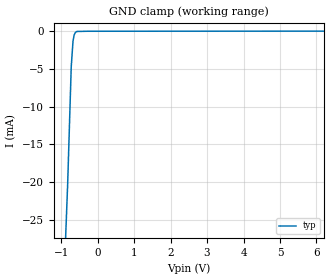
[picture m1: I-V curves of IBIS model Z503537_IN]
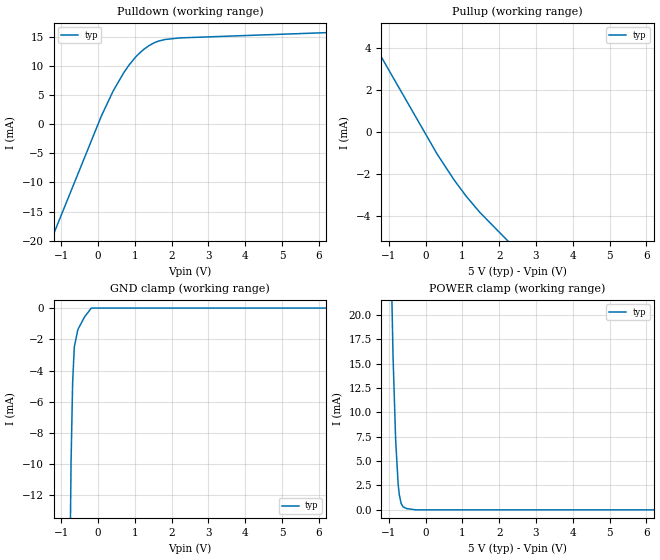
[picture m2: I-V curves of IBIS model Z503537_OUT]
| YOU ARE ONLY AUTHORIZED TO USE THIS SOFTWARE
| ACCORDING TO LICENSOR'S LICENSE RESTRICTIONS.
[IBIS Ver] 3.1
[File Name] mc14049ubcp.ibs
[File Rev] 2.0
[Source] Measured and created by ICX Technology
[Date] Friday 7/14/00 9:07:52 AM
[Copyright]
| (C) COPYRIGHT 1993-2000
| MENTOR GRAPHICS CORPORATION
| ICX STANDARD LIBRARY, ICX PROJECT MODELING,
| ICX CUSTOM MODELING, ICX VENDOR MODEL
| ALL RIGHTS RESERVED.
| THE FOLLOWING ARE TRADEMARKS OR SERVICE MARKS OF
| MENTOR GRAPHICS CORPORATION:ICX (R), ICX STANDARD
| LIBRARY(R), ICX PROJECT MODELING(R), ICX CUSTOM
| MODELING(R), qualityIBIS(TM), MODELVIEWER(TM),
| AND MODELEDITOR(TM)
| ALL COPIES OF SOFTWARE, INCLUDING BUT NOT LIMITED TO
| ANY MODIFICATIONS, ENHANCEMENTS OR DERIVATIVE WORKS,
| MUST CONTAIN ALL MENTOR GRAPHICS CORPORATION'S
| NOTICES AND LEGENDS, INCLUDING THOSE EMBEDDED IN
| SOFTWARE AND THOSE AFFIXED TO SOFTWARE MEDIUM
| AND CONTAINER, AS RECEIVED FROM MENTOR GRAPHICS
| CORPORATION.
|  ZAP Model Builder 2.7
[Component] MC14049UBCP
[Manufacturer] OnSemiconductor
[Package]
| variable   typ   min   max
R_pkg  .212ohms NA NA
L_pkg  4.758nH NA NA
C_pkg  1.143pF NA NA
[Pin] signal_name  model_name  R_pin  L_pin C_pin
1 VDD POWER .224 7.258n 1.578p
2 OUT Z503537_OUT .216 5.258n 1.288p
3 IN Z503537_IN .208 3.758n .998p
4 OUT Z503537_OUT .2 2.758n .708p
5 IN Z503537_IN .2 2.758n .708p
6 OUT Z503537_OUT .208 3.758n .998p
7 IN Z503537_IN .216 5.258n 1.288p
8 VSS GND .224 7.258n 1.578p
9 IN Z503537_IN .224 7.258n 1.578p
10 OUT Z503537_OUT .216 5.258n 1.288p
11 IN Z503537_IN .208 3.758n .998p
12 OUT Z503537_OUT .2 2.758n .708p
13 NC NC .2 2.758n .708p
14 IN Z503537_IN .208 3.758n .998p
15 OUT Z503537_OUT .216 5.258n 1.288p
16 NC NC .224 7.258n 1.578p
| Models and submodels in the file (2): Z503537_IN (Input), Z503537_OUT (Output)
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| (C) COPYRIGHT 1993-2000
| MENTOR GRAPHICS CORPORATION
| ICX STANDARD LIBRARY, ICX PROJECT MODELING,
| ICX CUSTOM MODELING, ICX VENDOR MODEL
| ALL RIGHTS RESERVED.
| THE FOLLOWING ARE TRADEMARKS OR SERVICE MARKS OF
| MENTOR GRAPHICS CORPORATION:ICX (R), ICX STANDARD
| LIBRARY(R), ICX PROJECT MODELING(R), ICX CUSTOM
| MODELING(R), qualityIBIS(TM), MODELVIEWER(TM),
| AND MODELEDITOR(TM)
| ALL COPIES OF SOFTWARE, INCLUDING BUT NOT LIMITED TO
| ANY MODIFICATIONS, ENHANCEMENTS OR DERIVATIVE WORKS,
| MUST CONTAIN ALL MENTOR GRAPHICS CORPORATION'S
| NOTICES AND LEGENDS, INCLUDING THOSE EMBEDDED IN
| SOFTWARE AND THOSE AFFIXED TO SOFTWARE MEDIUM
| AND CONTAINER, AS RECEIVED FROM MENTOR GRAPHICS
| CORPORATION.
| Model Application Version 1.89 2/18/99.
[Model] Z503537_IN
Model_type Input
Vinl = 1.500V
Vinh = 3.500V
C_comp 4.000pF NA NA
| variable typ   min   max
[Voltage Range] 5.000V NA NA
[GND Clamp Reference] 0.000V NA NA
[POWER Clamp Reference] 5.000V NA NA
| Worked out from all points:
|   GND clamp passes 1 mA (typ) near -0.66 V on its own axis
[GND Clamp]
-5V       -550mA     NA         NA
-820.7mV  -20.25mA   NA         NA
-722.6mV  -4.714mA   NA         NA
-673.8mV  -1.3mA     NA         NA
-641.4mV  -487.7uA   NA         NA
-605.9mV  -150.9uA   NA         NA
-568.3mV  -42.03uA   NA         NA
-284.2mV  -9.806uA   NA         NA
10V       12.29uA    NA         NA
[POWER Clamp]
-5V       0A         NA         NA
10V       0A         NA         NA
| (C) COPYRIGHT 1993-2000
| MENTOR GRAPHICS CORPORATION
| ICX STANDARD LIBRARY, ICX PROJECT MODELING,
| ICX CUSTOM MODELING, ICX VENDOR MODEL
| ALL RIGHTS RESERVED.
| THE FOLLOWING ARE TRADEMARKS OR SERVICE MARKS OF
| MENTOR GRAPHICS CORPORATION:ICX (R), ICX STANDARD
| LIBRARY(R), ICX PROJECT MODELING(R), ICX CUSTOM
| MODELING(R), qualityIBIS(TM), MODELVIEWER(TM),
| AND MODELEDITOR(TM)
| ALL COPIES OF SOFTWARE, INCLUDING BUT NOT LIMITED TO
| ANY MODIFICATIONS, ENHANCEMENTS OR DERIVATIVE WORKS,
| MUST CONTAIN ALL MENTOR GRAPHICS CORPORATION'S
| NOTICES AND LEGENDS, INCLUDING THOSE EMBEDDED IN
| SOFTWARE AND THOSE AFFIXED TO SOFTWARE MEDIUM
| AND CONTAINER, AS RECEIVED FROM MENTOR GRAPHICS
| CORPORATION.
| Model Application Version 1.89 2/18/99.
[Model] Z503537_OUT
Model_type Output
Vref=0.000V
Rref=500.0Mohms
Cref=50.00pF
Vmeas=2.500V
C_comp 8.000pF NA NA
| variable typ   min   max
[Voltage Range] 5.000V NA NA
[POWER Clamp Reference] 5.000V NA NA
[Pullup Reference] 5.000V NA NA
[Pulldown Reference] 0.000V NA NA
[GND Clamp Reference] 0.000V NA NA
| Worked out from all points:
|   slope of the pulldown table from 0 to 0.75 V, typ, clamps not added: 80.3 ohm
|   slope of the pullup table from 0 to 0.75 V, typ, clamps not added: 355 ohm
|   GND clamp passes 1 mA (typ) near -0.46 V on its own axis
|   POWER clamp passes 1 mA (typ) near -0.68 V on its own axis
[GND Clamp]
-5V       -1.005A    NA         NA
-732.4mV  -9.943mA   NA         NA
-689.3mV  -4.788mA   NA         NA
-643.5mV  -2.484mA   NA         NA
-546.8mV  -1.377mA   NA         NA
-365.5mV  -568.1uA   NA         NA
-182.8mV  0A         NA         NA
10V       0A         NA         NA
[Pulldown]
-5V       -78.24mA   NA         NA
92.85mV   1.446mA    NA         NA
410.2mV   5.704mA    NA         NA
698.4mV   8.855mA    NA         NA
840.3mV   10.16mA    NA         NA
1.026V    11.59mA    NA         NA
1.177V    12.53mA    NA         NA
1.387V    13.53mA    NA         NA
1.638V    14.29mA    NA         NA
2.212V    14.85mA    NA         NA
10V       16.62mA    NA         NA
[Pullup]
-5V       15.09mA    NA         NA
317mV     -1.045mA   NA         NA
781mV     -2.279mA   NA         NA
1.114V    -3.061mA   NA         NA
1.483V    -3.821mA   NA         NA
10V       -18.94mA   NA         NA
[POWER Clamp]
-5V       797.9mA    NA         NA
-883mV    15.92mA    NA         NA
-811mV    7.173mA    NA         NA
-742mV    2.583mA    NA         NA
-712mV    1.565mA    NA         NA
-664mV    679.3uA    NA         NA
-610mV    310.2uA    NA         NA
-513mV    131.5uA    NA         NA
-256.5mV  0A         NA         NA
10V       0A         NA         NA
[Ramp]
| variable typ min max
dV/dt_r 2.647/13.74n NA NA
dV/dt_f 2.647/5.969n NA NA
R_load = 2.500kOhms
